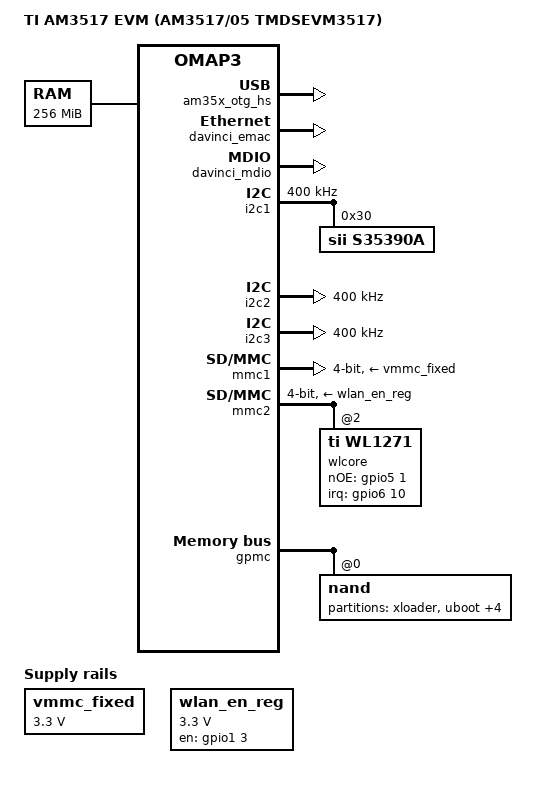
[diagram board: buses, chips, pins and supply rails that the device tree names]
/*
 * Copyright (C) 2011 Texas Instruments Incorporated - http://www.ti.com/
 *
 * This program is free software; you can redistribute it and/or modify
 * it under the terms of the GNU General Public License version 2 as
 * published by the Free Software Foundation.
 */
/dts-v1/;

#include "am3517.dtsi"

/ {
	model = "TI AM3517 EVM (AM3517/05 TMDSEVM3517)";
	compatible = "ti,am3517-evm", "ti,am3517", "ti,omap3";

    vmmc_fixed: vmmc {
        compatible = "regulator-fixed";
        regulator-name = "vmmc_fixed";
        regulator-min-microvolt = <3300000>;
        regulator-max-microvolt = <3300000>;
    };

	memory {
		device_type = "memory";
		reg = <0x80000000 0x10000000>; /* 256 MB */
	};
    /*Set GPIO3 to 3.3V output always enabled*/
    wlan_en_reg: fixedregulator@2 {
                compatible = "regulator-fixed";
                regulator-name = "wlan-en-regulator";
                regulator-min-microvolt = <3300000>;
                regulator-max-microvolt = <3300000>;

                /*GPIO3 pin that drives WLAN_EN*/
                gpio = <&gpio1 3 0>;

                startup-delay-us = <70000>;
                enable-active-high;
     };
};

&omap3_pmx_wkup {
    wl12xx_wkup_pins: pinmux_wl12xx_wkup_pins {
        pinctrl-single,pins = <
            0x00c (PIN_OUTPUT | MUX_MODE4)       /*sys_boot1.gpio_3 - WLAN_EN*/ 
            0x010 (PIN_INPUT_PULLUP | MUX_MODE4)       /*sys_boot1.gpio_5 - SCL*/
            0x016 (PIN_INPUT_PULLUP | MUX_MODE4)       /*sys_boot1.gpio_8 - SDA*/
        >;
    };
};

&omap3_pmx_core {
    otg_drv_vbus: pinmux_otg_drv_vbus {
        pinctrl-single,pins = <
            0x212 (PIN_OUTPUT | MUX_MODE0)  /* usb0_drvvbus.usb0_drvvbus */
        >;
    };

    i2c1_pins: pinmux_i2c1_pins {
        pinctrl-single,pins = <
            0x18a (PIN_INPUT | MUX_MODE0)   /* i2c1_scl.i2c1_scl */
            0x18c (PIN_INPUT | MUX_MODE0)   /* i2c1_sda.i2c1_sda */
        >;
    };

    i2c2_pins: pinmux_i2c2_pins {
        pinctrl-single,pins = <
            0x18e (PIN_INPUT | MUX_MODE0)   /* i2c2_scl.i2c2_scl */
            0x190 (PIN_INPUT | MUX_MODE0)   /* i2c2_sda.i2c2_sda */
        >;
    };

    i2c3_pins: pinmux_i2c3_pins {
        pinctrl-single,pins = <
            0x192 (PIN_INPUT | MUX_MODE0)    /* i2c3_scl.i2c3_scl */
            0x194 (PIN_INPUT | MUX_MODE0)    /* i2c3_sda.i2c3_sda */
        >;
    };

    mmc2_pins: pinmux_mmc2_pins {
        pinctrl-single,pins = <
            0x128 (PIN_INPUT_PULLUP | MUX_MODE0)	/* sdmmc2_clk.sdmmc2_clk */
            0x12a (PIN_INPUT_PULLUP | MUX_MODE0)	/* sdmmc2_cmd.sdmmc2_cmd */
            0x12c (PIN_INPUT_PULLUP | MUX_MODE0)	/* sdmmc2_dat0.sdmmc2_dat0 */
            0x12e (PIN_INPUT_PULLUP | MUX_MODE0)	/* sdmmc2_dat1.sdmmc2_dat1 */
            0x130 (PIN_INPUT_PULLUP | MUX_MODE0)	/* sdmmc2_dat2.sdmmc2_dat2 */
            0x132 (PIN_INPUT_PULLUP | MUX_MODE0)	/* sdmmc2_dat3.sdmmc2_dat3 */
            0x134 (PIN_INPUT_PULLUP | MUX_MODE1)     /* sdmmc2_dat4.sdmmc2_dir_dat0 */
            0x136 (PIN_INPUT_PULLUP | MUX_MODE1)     /* sdmmc2_dat5.sdmmc2_dir_dat1 */
            0x138 (PIN_INPUT_PULLUP | MUX_MODE1)     /* sdmmc2_dat6.sdmmc2_dir_cmd */
            0x13a (PIN_INPUT_PULLUP | MUX_MODE1)     /* sdmmc2_dat7.sdmmc2_clkin */
        >;
    };

    wl12xx_core_pins: pinmux_wl12xx_core_pins {
		pinctrl-single,pins = <
			0x196 (PIN_INPUT_PULLUP | MUX_MODE4)	 /* hdq_sio.gpio_170 - WLAN_IRQ*/
            		0x126 (PIN_OUTPUT_PULLDOWN | MUX_MODE4)  /* sdmmc1_dat7.gpio_129 - WLAN_nOE */
		>;
	};
};

&am35x_otg_hs {
    status = "okay";
    pinctrl-names = "default";
    pinctrl-0 = <&otg_drv_vbus>;
    clocks = <&hsotgusb_ick_am35xx>, <&hsotgusb_fck_am35xx>;
    clock-names = "hsotgusb_ick", "hsotgusb_fck";
    compatible = "ti,am35x-musb";
};

&usbhshost {
    /* Will be initialized in pdata-quirks */
    status = "disabled";
};

&usbhstll {
    status = "disabled";
};

/*&aes {
    status = "disabled";
};

&sham {
    status = "disabled";
};

&smartreflex_core {
    status = "disabled";
};*/

&usb_otg_hs {
    status = "disabled";
};

&davinci_emac {
	status = "okay";
};

&davinci_mdio {
	status = "okay";
};

&i2c1 {
	clock-frequency = <400000>;

    pinctrl-names = "default";
    pinctrl-0 = <&i2c1_pins>;

    status = "okay";

    s35390a: s35390a@30 {
         compatible = "sii,s35390a";
         reg = <0x30>;
    };
};

&i2c2 {
	clock-frequency = <400000>;

    pinctrl-names = "default";
    pinctrl-0 = <&i2c2_pins>;

    status = "okay";
};

&i2c3 {
	clock-frequency = <400000>;

    pinctrl-names = "default";
    pinctrl-0 = <&i2c3_pins>;

    status = "okay";
};

&mmc1 {
    vmmc-supply = <&vmmc_fixed>;
	bus-width = <4>;
};

&mmc2 {
      status = "okay";
      ti,non-removable;
      vmmc-supply = <&wlan_en_reg>;
      bus-width = <4>;
      cap-power-off-card;
      pinctrl-names = "default";
      pinctrl-0 = <&mmc2_pins>, <&wl12xx_core_pins>, <&wl12xx_wkup_pins>;

      #address-cells = <1>;
      #size-cells = <0>;
      wlcore: wlcore@2 {
          compatible = "ti,wl1271";
          nOE = <&gpio5 1 0>;
          reg = <2>;
          interrupt-parent = <&gpio6>;
          interrupts = <10 IRQ_TYPE_LEVEL_HIGH>;
          ref-clock-frequency = <26000000>;
      };
};

&mmc3 {
      status = "disabled";
};

&gpmc {
	ranges = <0 0 0x00000000 0x20000000>;

	nand@0,0 {
		linux,mtd-name= "micron,nand";
		reg = <0 0 4>;	/* CS0, offset 0, IO size 4 */
		nand-bus-width = <16>;
		gpmc,device-width = <2>;
		ti,nand-ecc-opt = "sw";

        gpmc,cs-on-ns = <0>;
        gpmc,cs-rd-off-ns = <36>;
        gpmc,cs-wr-off-ns = <36>;

        gpmc,adv-on-ns = <6>;
        gpmc,adv-rd-off-ns = <24>;
        gpmc,adv-wr-off-ns = <36>;

        gpmc,we-on-ns = <6>;
        gpmc,we-off-ns = <30>;

        gpmc,oe-on-ns = <6>;
        gpmc,oe-off-ns = <48>;

        gpmc,page-burst-access-ns = <6>;
        gpmc,access-ns = <54>;
        gpmc,cycle2cycle-delay-ns = <60>;

        gpmc,rd-cycle-ns = <72>;
        gpmc,wr-cycle-ns = <72>;
        gpmc,wr-access-ns = <30>;
        gpmc,wr-data-mux-bus-ns = <0>;

		#address-cells = <1>;
		#size-cells = <1>;

		partition@0 {
			label = "xloader";
			reg = <0 0x80000>;
		};
		partition@0x80000 {
			label = "uboot";
			reg = <0x80000 0x1e0000>;
		};
		partition@0x260000 {
			label = "uboot environment";
			reg = <0x260000 0x40000>;
		};
		partition@0x2a0000 {
			label = "linux";
			reg = <0x2a0000 0x800000>;
		};
		partition@0xaa0000 {
			label = "oftree";
			reg = <0xaa0000 0x80000>;
		};
		partition@0xb20000 {
			label = "rootfs";
			reg = <0xb20000 0x1f4e0000>;
		};
	};

};
